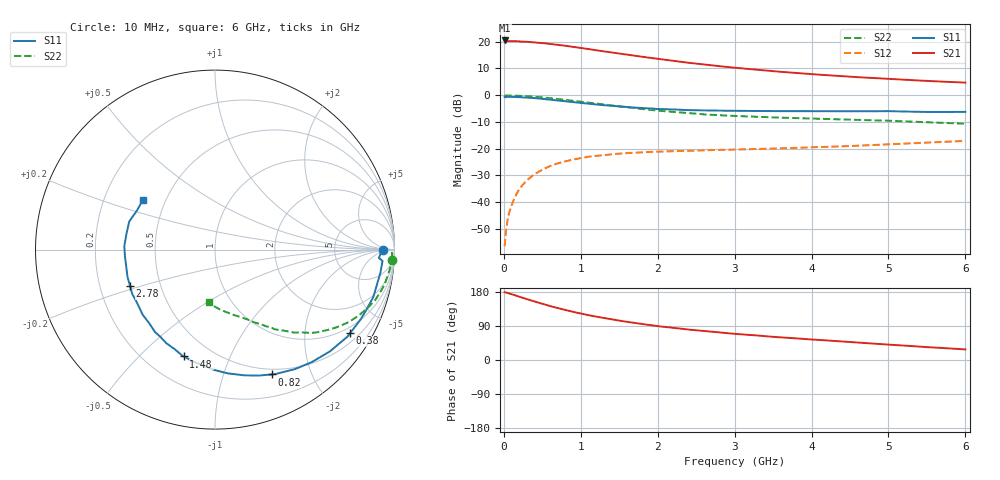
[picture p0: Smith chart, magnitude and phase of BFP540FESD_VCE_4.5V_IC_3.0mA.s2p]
! Infineon Technologies  Discrete & RF Semiconductors
! BFP540FESD
! VCE =  4.5 V,  IC =  3.0 mA
! Common Emitter S-Parameters:  Nov 2015
# GHz  S  MA  R  50
!  f  S11  S21  S12  S22
! GHz  MAG  ANG  MAG  ANG  MAG  ANG  MAG  ANG
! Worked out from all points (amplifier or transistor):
!   210 points, 10 MHz to 6 GHz, reference 50 ohm
!   highest |S21| = 20.5 dB at 10 MHz (marker M1)
!   |S21| within 3 dB of that: start of sweep to 1.048 GHz
!   unconditionally stable (mu >= 1): 3.15 GHz to end of sweep
!   at 185 MHz: K = 0.12, MSG = 28.0 dB, |S12| = -35.9 dB
!   at 1.52 GHz: K = 0.46, MSG = 18.7 dB, |S12| = -21.8 dB
!   at 6 GHz: K = 1.43, MAG = 7.0 dB, |S12| = -17.1 dB
!   S11 on the Smith chart (normalised r, x): 10 MHz: 29, +0; 380 MHz: 0.78, -3.36; 820 MHz: 0.44, -1.46; 1.48 GHz: 0.36, -0.69; 2.78 GHz: 0.33, -0.18; 6 GHz: 0.37, +0.27
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0.01  0.9339 0.0  10.56 178.9  0.0015 40.9  0.989 -3.2
0.02  0.914 -2.9  10.17 178.7  0.0021 54.8  0.9863 -1.0
0.05  0.9357 -3.9  10.28 176.8  0.0048 75.3  0.9849 -2.2
0.11  0.9282 -9.0  10.25 173.0  0.0095 78.1  0.9831 -4.9
0.15  0.9226 -13.2  10.27 170.5  0.0127 78.2  0.9794 -6.6
0.26  0.9069 -21.9  10.04 163.2  0.0222 75.2  0.9646 -11.4
0.38  0.8853 -31.7  9.774 155.6  0.0318 71.3  0.9411 -16.4
0.5  0.8553 -41.5  9.483 148.2  0.0403 66.3  0.9098 -21.1
0.6  0.8265 -49.4  9.097 142.3  0.0471 63.5  0.8802 -24.7
0.82  0.7641 -65.5  8.324 130.9  0.0589 55.4  0.8109 -31.9
1.02  0.7125 -78.5  7.576 121.9  0.0671 50.0  0.7493 -37.4
1.2  0.6706 -90.4  6.926 114.4  0.0733 45.6  0.6958 -41.8
1.48  0.6199 -106.3  6.072 104.4  0.0802 40.1  0.6213 -47.5
1.78  0.5758 -121.2  5.278 95.2  0.085 36.4  0.5564 -53.0
2.02  0.55 -131.8  4.762 88.9  0.0882 34.0  0.5122 -56.4
2.4  0.5254 -145.7  4.04 80.3  0.0913 31.4  0.4637 -61.3
2.78  0.5148 -156.8  3.517 73.3  0.0947 30.4  0.4242 -65.7
3.1  0.5077 -164.8  3.169 67.6  0.0969 29.6  0.4037 -68.9
3.5  0.5033 -173.9  2.806 61.1  0.1002 29.2  0.3841 -72.9
4.1  0.504 176.2  2.42 52.9  0.1069 29.9  0.362 -77.7
5.1  0.4986 160.2  1.985 39.4  0.1225 29.3  0.3288 -86.9
6  0.4878 145.3  1.718 27.9  0.1397 28.0  0.2925 -96.5
